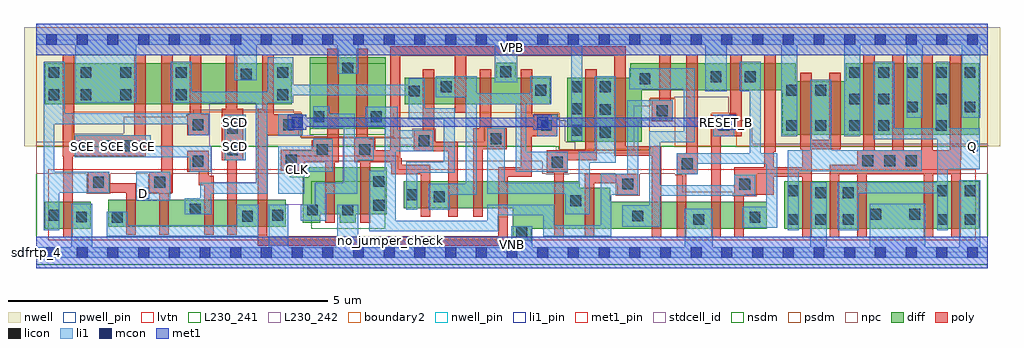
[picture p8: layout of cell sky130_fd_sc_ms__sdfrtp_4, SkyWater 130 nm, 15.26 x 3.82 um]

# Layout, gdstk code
import gdstk
lib = gdstk.Library(unit=1e-6, precision=1e-09)
def R(c, l, rs):  # rectangles x0, y0, x1, y1
    for r in rs: c.add(gdstk.rectangle(r[:2], r[2:], *l))
def A(c, l, x, y, w, h, nx, ny, dx, dy):  # array of equal rectangles
    R(c, l, [(x+i*dx, y+j*dy, x+i*dx+w, y+j*dy+h) for i in range(nx) for j in range(ny)])
def P(c, l, *ps):  # polygons
    for p in ps: c.add(gdstk.Polygon(p, *l))
nwell_pin = (64, 16)
nwell = (64, 20)
diff = (65, 20)
poly = (66, 20)
licon = (66, 44)
li1_pin = (67, 16)
li1 = (67, 20)
mcon = (67, 44)
met1_pin = (68, 16)
met1 = (68, 20)
stdcell_id = (81, 4)
nsdm = (93, 44)
psdm = (94, 20)
npc = (95, 20)
pwell_pin = (122, 16)
lvtn = (125, 44)
L230_241 = (230, 241)
L230_242 = (230, 242)
boundary2 = (236, 0)

sky130_fd_sc_ms__sdfrtp_ = lib.new_cell('sky130_fd_sc_ms__sdfrtp_4')
R(sky130_fd_sc_ms__sdfrtp_, nwell_pin, [(0,3.085,14.88,3.33)])
P(sky130_fd_sc_ms__sdfrtp_, nwell, [(15.07,3.52),(-0.19,3.52),(-0.19,1.66),(3.55,1.66),(3.55,1.675),(5.97,1.675),(5.97,1.66),(8.125,1.66),(8.125,1.555),(9.645,1.555),(9.645,1.66),(15.07,1.66)])
R(sky130_fd_sc_ms__sdfrtp_, diff, [(0.135,0.37,0.855,0.79), (11.695,0.37,14.745,1.11), (1.125,0.405,3.9,0.825), (4.275,1.935,5.465,3.055), (0.135,2.32,4,2.96)])
P(sky130_fd_sc_ms__sdfrtp_, diff, [(5.48,1.335),(4.265,1.335),(4.265,1.175),(4.17,1.175),(4.17,0.465),(4.445,0.465),(4.445,0.595),(4.745,0.595),(4.745,0.465),(4.995,0.465),(4.995,0.595),(5.48,0.595)],
  [(8.035,2.735),(7.5,2.735),(7.5,2.97),(7.19,2.97),(7.19,2.735),(5.765,2.735),(5.765,2.315),(8.035,2.315)],
  [(11.425,0.79),(8.975,0.79),(8.975,1.01),(8.5,1.01),(8.5,1.11),(5.75,1.11),(5.75,0.69),(7.45,0.69),(7.45,0.18),(7.74,0.18),(7.74,0.37),(11.425,0.37)],
  [(14.745,2.96),(12.655,2.96),(12.655,2.68),(11.875,2.68),(11.875,2.96),(9.29,2.96),(9.29,2.735),(8.305,2.735),(8.305,1.735),(9.465,1.735),(9.465,2.54),(11.665,2.54),(11.665,1.84),(14.745,1.84)])
P(sky130_fd_sc_ms__sdfrtp_, poly, [(1.56,1.085),(1.14,1.085),(1.14,1.265),(0.81,1.265),(0.81,0.935),(1.41,0.935),(1.41,0.275),(1.56,0.275)],
  [(1.715,3.09),(1.535,3.09),(1.535,1.835),(0.595,1.835),(0.595,3.09),(0.415,3.09),(0.415,1.505),(0.42,1.505),(0.42,0.24),(0.57,0.24),(0.57,1.505),(1.715,1.505)],
  [(2.135,3.09),(1.955,3.09),(1.955,1.265),(1.77,1.265),(1.77,0.935),(1.925,0.935),(1.925,0.275),(2.075,0.275),(2.075,0.935),(2.135,0.935)],
  [(2.695,2.16),(2.585,2.16),(2.585,3.09),(2.405,3.09),(2.405,2.16),(2.365,2.16),(2.365,1.83),(2.695,1.83)],
  [(2.775,1.2),(2.695,1.2),(2.695,1.59),(2.365,1.59),(2.365,1.26),(2.545,1.26),(2.545,1.05),(2.625,1.05),(2.625,0.275),(2.775,0.275)],
  [(3.235,2.245),(3.145,2.245),(3.145,3.09),(2.965,3.09),(2.965,2.245),(2.905,2.245),(2.905,1.44),(2.985,1.44),(2.985,0.275),(3.135,0.275),(3.135,1.44),(3.235,1.44)],
  [(11.03,3.09),(10.85,3.09),(10.85,2.15),(10.555,2.15),(10.555,0.24),(10.705,0.24),(10.705,1.82),(11.03,1.82)],
  [(4.735,3.185),(4.555,3.185),(4.555,1.775),(4.33,1.775),(4.33,1.755),(4.31,1.755),(4.31,1.61),(3.825,1.61),(3.825,1.28),(4.185,1.28),(4.185,1.41),(4.52,1.41),(4.52,0.465),(4.67,0.465),(4.67,1.41),(4.735,1.41)],
  [(6.595,1.735),(6.23,1.735),(6.23,1.915),(6.225,1.915),(6.225,2.865),(6.045,2.865),(6.045,1.915),(5.9,1.915),(5.9,1.585),(6.445,1.585),(6.445,0.56),(6.595,0.56)],
  [(12.58,2.81),(12.4,2.81),(12.4,1.765),(12.13,1.765),(12.13,2.81),(11.95,2.81),(11.95,1.615),(11.98,1.615),(11.98,1.335),(11.535,1.335),(11.535,1.575),(11.565,1.575),(11.565,3.09),(11.385,3.09),(11.385,1.335),(10.915,1.335),(10.915,0.24),(11.065,0.24),(11.065,0.9),(11.535,0.9),(11.535,1.185),(11.98,1.185),(11.98,0.24),(12.13,0.24),(12.13,1.615),(12.58,1.615)],
  [(7.355,1.945),(7.115,1.945),(7.115,2.865),(6.935,2.865),(6.935,1.945),(6.835,1.945),(6.835,0.56),(6.985,0.56),(6.985,1.615),(7.355,1.615)],
  [(8.145,2.15),(7.755,2.15),(7.755,2.865),(7.575,2.865),(7.575,1.335),(7.225,1.335),(7.225,0.255),(3.615,0.255),(3.615,1.83),(4.095,1.83),(4.095,1.85),(4.115,1.85),(4.115,2.16),(3.715,2.16),(3.715,3.09),(3.535,3.09),(3.535,2.245),(3.465,2.245),(3.465,0.105),(7.375,0.105),(7.375,1.185),(7.745,1.185),(7.745,1.82),(8.145,1.82)],
  [(14.465,3.09),(14.285,3.09),(14.285,1.6),(14.015,1.6),(14.015,3.09),(13.835,3.09),(13.835,1.6),(13.565,1.6),(13.565,3.09),(13.385,3.09),(13.385,1.6),(13.115,1.6),(13.115,3.09),(12.935,3.09),(12.935,1.6),(12.84,1.6),(12.84,1.375),(12.41,1.375),(12.41,0.24),(12.56,0.24),(12.56,1.225),(12.84,1.225),(12.84,0.24),(12.99,0.24),(12.99,1.225),(13.88,1.225),(13.88,0.24),(14.03,0.24),(14.03,1.225),(14.31,1.225),(14.31,0.24),(14.46,0.24),(14.46,1.45),(14.465,1.45)],
  [(8.765,2.865),(8.585,2.865),(8.585,1.595),(7.985,1.595),(7.985,1.245),(8.1,1.245),(8.1,0.24),(8.25,0.24),(8.25,1.245),(8.315,1.245),(8.315,1.445),(8.765,1.445)],
  [(9.415,1.235),(8.575,1.235),(8.575,0.24),(8.725,0.24),(8.725,1.085),(9.085,1.085),(9.085,0.905),(9.415,0.905)],
  [(9.775,1.66),(9.215,1.66),(9.215,3.225),(5.54,3.225),(5.54,1.595),(5.305,1.595),(5.305,1.775),(5.185,1.775),(5.185,3.185),(5.005,3.185),(5.005,1.775),(4.975,1.775),(4.975,1.41),(5.07,1.41),(5.07,0.465),(5.22,0.465),(5.22,1.41),(5.545,1.41),(5.545,1.375),(5.555,1.375),(5.555,1.225),(6.015,1.225),(6.015,0.56),(6.165,0.56),(6.165,1.375),(5.715,1.375),(5.715,1.475),(5.69,1.475),(5.69,3.075),(6.545,3.075),(6.545,2.185),(6.725,2.185),(6.725,3.075),(9.035,3.075),(9.035,1.51),(9.625,1.51),(9.625,0.24),(9.775,0.24)],
  [(9.955,2.38),(9.925,2.38),(9.925,3.09),(9.745,3.09),(9.745,2.38),(9.625,2.38),(9.625,2.05),(9.955,2.05)],
  [(10.345,3.09),(10.165,3.09),(10.165,1.555),(10.015,1.555),(10.015,0.24),(10.165,0.24),(10.165,1.225),(10.345,1.225)])
A(sky130_fd_sc_ms__sdfrtp_, licon, 11.755, 0.43, 0.17, 0.17, 3, 1, 0.43, 0)
A(sky130_fd_sc_ms__sdfrtp_, licon, 12.92, 1.35, 0.17, 0.17, 3, 1, 0.34, 0)
A(sky130_fd_sc_ms__sdfrtp_, licon, 0.685, 1.585, 0.17, 0.17, 3, 1, 0.34, 0)
A(sky130_fd_sc_ms__sdfrtp_, licon, 8.815, 1.795, 0.17, 0.17, 1, 3, 0, 0.355)
A(sky130_fd_sc_ms__sdfrtp_, licon, 8.365, 1.825, 0.17, 0.17, 1, 3, 0, 0.34)
A(sky130_fd_sc_ms__sdfrtp_, licon, 12.715, 2.73, 0.17, 0.17, 5, 1, 0.45, 0)
R(sky130_fd_sc_ms__sdfrtp_, licon, [(7.51,0.24,7.68,0.41), (10.275,0.43,10.445,0.6), (14.085,0.43,14.255,0.6), (14.515,0.43,14.685,0.6), (1.185,0.465,1.355,0.635), (11.155,0.465,11.325,0.635), (0.625,0.47,0.795,0.64), (3.22,0.48,3.39,0.65), (9.32,0.485,9.49,0.655), (0.195,0.495,0.365,0.665), (3.69,0.5,3.86,0.67), (13.045,0.51,13.215,0.68), (13.655,0.51,13.825,0.68), (4.235,0.58,4.405,0.75), (4.785,0.58,4.955,0.75), (2.4,0.595,2.57,0.765), (5.27,0.655,5.44,0.825), (8.35,0.725,8.52,0.895), (6.22,0.785,6.39,0.955), (5.79,0.815,5.96,0.985), (12.185,0.85,12.355,1.02), (12.615,0.85,12.785,1.02), (11.755,0.88,11.925,1.05), (14.085,0.88,14.255,1.05), (14.515,0.88,14.685,1.05), (10.995,0.98,11.165,1.15), (9.165,0.985,9.335,1.155), (0.89,1.015,1.06,1.185), (1.85,1.015,2.02,1.185), (5.27,1.025,5.44,1.195), (10.095,1.305,10.265,1.475), (8.065,1.325,8.235,1.495), (2.445,1.34,2.615,1.51), (3.905,1.36,4.075,1.53), (2.985,1.52,3.155,1.69), (4.39,1.525,4.56,1.695), (5.055,1.525,5.225,1.695), (5.98,1.665,6.15,1.835), (7.105,1.695,7.275,1.865), (2.985,1.86,3.155,2.03), (7.895,1.9,8.065,2.07), (10.665,1.9,10.835,2.07), (11.73,1.9,11.9,2.07), (12.18,1.9,12.35,2.07), (12.715,1.9,12.885,2.07), (13.165,1.9,13.335,2.07), (14.065,1.9,14.235,2.07), (2.445,1.91,2.615,2.08), (3.865,1.91,4.035,2.08), (4.335,2.035,4.505,2.205), (5.235,2.035,5.405,2.205), (9.705,2.13,9.875,2.3), (13.615,2.19,13.785,2.36), (14.515,2.19,14.685,2.36), (12.715,2.315,12.885,2.485), (13.165,2.315,13.335,2.485), (14.065,2.315,14.235,2.485), (0.195,2.38,0.365,2.55), (0.695,2.38,0.865,2.55), (1.315,2.38,1.485,2.55), (2.185,2.38,2.355,2.55), (3.77,2.38,3.94,2.55), (5.825,2.44,5.995,2.61), (7.805,2.45,7.975,2.62), (11.73,2.45,11.9,2.62), (12.18,2.45,12.35,2.62), (6.325,2.505,6.495,2.675), (9.435,2.63,9.605,2.8), (10.545,2.665,10.715,2.835), (11.08,2.665,11.25,2.835), (3.2,2.705,3.37,2.875), (0.195,2.73,0.365,2.9), (0.695,2.73,0.865,2.9), (1.315,2.73,1.485,2.9), (2.185,2.73,2.355,2.9), (3.77,2.73,3.94,2.9), (7.26,2.74,7.43,2.91), (4.785,2.795,4.955,2.965)])
A(sky130_fd_sc_ms__sdfrtp_, li1_pin, 0.635, 1.58, 0.17, 0.17, 3, 1, 0.48, 0)
R(sky130_fd_sc_ms__sdfrtp_, li1_pin, [(1.595,0.84,1.765,1.01), (3.995,1.21,4.165,1.38), (3.035,1.58,3.205,1.75), (14.555,1.58,14.725,1.75), (3.035,1.95,3.205,2.12)])
R(sky130_fd_sc_ms__sdfrtp_, li1, [(1.565,0.81,2.1,1.265), (2.945,1.44,3.275,2.15), (7.835,1.82,8.145,2.15), (10.585,1.82,10.915,2.15), (3.785,1.83,4.165,2.16)])
P(sky130_fd_sc_ms__sdfrtp_, li1, [(2.705,2.175),(0.445,2.175),(0.445,2.98),(0.115,2.98),(0.115,0.35),(0.365,0.35),(0.365,0.935),(1.14,0.935),(1.14,1.265),(0.285,1.265),(0.285,2.005),(2.375,2.005),(2.375,1.83),(2.705,1.83)],
  [(2.735,1.66),(1.795,1.66),(1.795,1.835),(0.605,1.835),(0.605,1.49),(2.405,1.49),(2.405,1.26),(2.735,1.26)],
  [(3.47,0.75),(3.14,0.75),(3.14,0.425),(1.435,0.425),(1.435,0.64),(1.105,0.64),(1.105,0.255),(3.47,0.255)],
  [(4.64,1.775),(4.335,1.775),(4.335,1.66),(3.785,1.66),(3.785,0.92),(4.195,0.92),(4.195,1.26),(4.64,1.26)],
  [(14.88,3.415),(0,3.415),(0,3.245),(0.615,3.245),(0.615,2.345),(1.565,2.345),(1.565,3.245),(3.095,3.245),(3.095,2.69),(3.45,2.69),(3.45,3.245),(4.705,3.245),(4.705,2.795),(5.035,2.795),(5.035,3.245),(7.17,3.245),(7.17,2.66),(7.52,2.66),(7.52,3.245),(8.365,3.245),(8.365,1.745),(8.535,1.745),(8.535,3.245),(10.465,3.245),(10.465,2.52),(10.795,2.52),(10.795,3.245),(11.65,3.245),(11.65,1.82),(11.9,1.82),(11.9,3.245),(12.635,3.245),(12.635,1.82),(12.885,1.82),(12.885,3.245),(13.615,3.245),(13.615,2.11),(13.865,2.11),(13.865,3.245),(14.47,3.245),(14.47,2.11),(14.765,2.11),(14.765,3.245),(14.88,3.245)],
  [(5.28,1.8),(4.98,1.8),(4.98,2.17),(4.585,2.17),(4.585,2.285),(4.335,2.285),(4.335,1.945),(4.81,1.945),(4.81,1.09),(4.365,1.09),(4.365,0.75),(4.135,0.75),(4.135,0.5),(4.535,0.5),(4.535,0.92),(5.02,0.92),(5.02,1.445),(5.28,1.445)],
  [(6.545,2.255),(6.075,2.255),(6.075,2.725),(5.825,2.725),(5.825,2.625),(4.02,2.625),(4.02,3.055),(3.62,3.055),(3.62,2.515),(2.435,2.515),(2.435,2.98),(2.105,2.98),(2.105,2.345),(3.445,2.345),(3.445,1.09),(2.565,1.09),(2.565,0.845),(2.32,0.845),(2.32,0.595),(2.735,0.595),(2.735,0.92),(3.615,0.92),(3.615,2.345),(4.02,2.345),(4.02,2.455),(5.825,2.455),(5.825,2.085),(6.375,2.085),(6.375,1.415),(5.79,1.415),(5.79,0.67),(5.96,0.67),(5.96,1.245),(6.545,1.245)],
  [(8.315,1.575),(7.665,1.575),(7.665,2.32),(8.055,2.32),(8.055,2.755),(7.725,2.755),(7.725,2.49),(6.885,2.49),(6.885,2.755),(6.245,2.755),(6.245,2.425),(6.715,2.425),(6.715,1.075),(6.14,1.075),(6.14,0.67),(6.47,0.67),(6.47,0.905),(6.885,0.905),(6.885,2.32),(7.495,2.32),(7.495,1.26),(8.315,1.26)],
  [(9.065,2.755),(8.735,2.755),(8.735,1.575),(8.485,1.575),(8.485,1.09),(7.325,1.09),(7.325,1.945),(7.055,1.945),(7.055,0.92),(8.27,0.92),(8.27,0.595),(8.655,0.595),(8.655,1.405),(9.065,1.405)],
  [(9.955,2.38),(9.245,2.38),(9.245,1.235),(8.825,1.235),(8.825,0.425),(8.1,0.425),(8.1,0.75),(7.055,0.75),(7.055,0.5),(5.62,0.5),(5.62,1.585),(6.205,1.585),(6.205,1.915),(5.655,1.915),(5.655,2.275),(5.155,2.275),(5.155,1.97),(5.45,1.97),(5.45,1.275),(5.205,1.275),(5.205,0.33),(7.225,0.33),(7.225,0.58),(7.93,0.58),(7.93,0.255),(8.995,0.255),(8.995,0.905),(9.415,0.905),(9.415,2.065),(9.955,2.065)],
  [(11.245,1.215),(10.915,1.215),(10.915,1.055),(9.755,1.055),(9.755,1.725),(10.295,1.725),(10.295,2.88),(9.27,2.88),(9.27,2.55),(10.125,2.55),(10.125,1.895),(9.585,1.895),(9.585,0.735),(9.165,0.735),(9.165,0.405),(9.755,0.405),(9.755,0.885),(11.245,0.885)],
  [(11.585,1.555),(11.33,1.555),(11.33,2.98),(11,2.98),(11,2.52),(11.16,2.52),(11.16,1.555),(10.015,1.555),(10.015,1.225),(10.345,1.225),(10.345,1.385),(11.415,1.385),(11.415,0.715),(11.04,0.715),(11.04,0.385),(11.585,0.385)],
  [(13.85,1.6),(12.43,1.6),(12.43,2.7),(12.1,2.7),(12.1,1.6),(11.755,1.6),(11.755,0.35),(11.925,0.35),(11.925,1.27),(13.85,1.27)],
  [(14.755,1.94),(14.28,1.94),(14.28,2.98),(14.065,2.98),(14.065,1.94),(13.415,1.94),(13.415,2.98),(13.085,2.98),(13.085,1.77),(14.085,1.77),(14.085,1.1),(12.535,1.1),(12.535,0.35),(12.865,0.35),(12.865,0.93),(14.085,0.93),(14.085,0.35),(14.255,0.35),(14.255,1.3),(14.755,1.3)],
  [(14.88,0.085),(14.765,0.085),(14.765,1.13),(14.435,1.13),(14.435,0.085),(13.905,0.085),(13.905,0.76),(13.035,0.76),(13.035,0.085),(12.365,0.085),(12.365,1.1),(12.105,1.1),(12.105,0.085),(10.58,0.085),(10.58,0.68),(10.14,0.68),(10.14,0.085),(7.76,0.085),(7.76,0.41),(7.43,0.41),(7.43,0.085),(5.035,0.085),(5.035,0.75),(4.705,0.75),(4.705,0.085),(3.94,0.085),(3.94,0.75),(3.64,0.75),(3.64,0.085),(0.875,0.085),(0.875,0.765),(0.545,0.765),(0.545,0.085),(0,0.085),(0,-0.085),(14.88,-0.085)])
A(sky130_fd_sc_ms__sdfrtp_, mcon, 0.155, -0.085, 0.17, 0.17, 31, 2, 0.48, 3.33)
R(sky130_fd_sc_ms__sdfrtp_, mcon, [(3.995,1.95,4.165,2.12), (7.835,1.95,8.005,2.12), (10.715,1.95,10.885,2.12)])
R(sky130_fd_sc_ms__sdfrtp_, met1_pin, [(0,0,14.88,0.245), (10.715,1.95,10.885,2.12), (0,3.085,14.88,3.33)])
R(sky130_fd_sc_ms__sdfrtp_, met1, [(0,-0.245,14.88,0.245), (0,3.085,14.88,3.575)])
P(sky130_fd_sc_ms__sdfrtp_, met1, [(8.065,2.105),(10.655,2.105),(10.655,2.15),(10.945,2.15),(10.945,1.92),(10.655,1.92),(10.655,1.965),(8.065,1.965),(8.065,1.92),(7.775,1.92),(7.775,1.965),(4.225,1.965),(4.225,1.92),(3.935,1.92),(3.935,2.15),(4.225,2.15),(4.225,2.105),(7.775,2.105),(7.775,2.15),(8.065,2.15)])
R(sky130_fd_sc_ms__sdfrtp_, stdcell_id, [(0,0,14.88,3.33)])
P(sky130_fd_sc_ms__sdfrtp_, nsdm, [(14.88,1.66),(9.595,1.66),(9.595,1.605),(8.175,1.605),(8.175,1.66),(0,1.66),(0,-0.19),(14.88,-0.19)])
P(sky130_fd_sc_ms__sdfrtp_, psdm, [(14.88,3.52),(0,3.52),(0,1.66),(0.575,1.66),(0.575,2.19),(4.145,2.19),(4.145,1.805),(5.595,1.805),(5.595,2.185),(8.175,2.185),(8.175,1.605),(9.595,1.605),(9.595,2.41),(9.985,2.41),(9.985,1.66),(10.555,1.66),(10.555,2.18),(10.945,2.18),(10.945,1.66),(14.88,1.66)])
P(sky130_fd_sc_ms__sdfrtp_, npc, [(14.88,1.7),(11.2,1.7),(11.2,2.065),(10.935,2.065),(10.935,2.17),(10.83,2.17),(10.83,2.435),(9.975,2.435),(9.975,2.4),(9.605,2.4),(9.605,2.295),(9.34,2.295),(9.34,1.595),(8.43,1.595),(8.43,1.735),(8.275,1.735),(8.275,2.065),(8.165,2.065),(8.165,2.17),(7.78,2.17),(7.78,1.965),(7.005,1.965),(7.005,1.73),(6.25,1.73),(6.25,1.935),(5.88,1.935),(5.88,1.795),(4.135,1.795),(4.135,2.18),(4.03,2.18),(4.03,2.23),(2.46,2.23),(2.46,2.18),(2.345,2.18),(2.345,2.12),(1.37,2.12),(1.37,1.855),(0.585,1.855),(0.585,1.73),(0,1.73),(0,1.23),(0.79,1.23),(0.79,0.915),(1.16,0.915),(1.16,1.23),(1.75,1.23),(1.75,0.915),(2.12,0.915),(2.12,1.23),(4.205,1.23),(4.205,1.425),(7.915,1.425),(7.915,1.23),(7.965,1.23),(7.965,1.225),(8.335,1.225),(8.335,1.23),(9.065,1.23),(9.065,0.885),(9.435,0.885),(9.435,1.23),(9.995,1.23),(9.995,1.205),(10.1,1.205),(10.1,0.94),(10.895,0.94),(10.895,0.88),(11.265,0.88),(11.265,1.23),(14.88,1.23)])
R(sky130_fd_sc_ms__sdfrtp_, pwell_pin, [(0,0,14.88,0.245)])
P(sky130_fd_sc_ms__sdfrtp_, lvtn, [(14.69,1.3),(5.66,1.3),(5.66,1.515),(4.04,1.515),(4.04,1.3),(0.19,1.3),(0.19,0.19),(14.69,0.19)])
R(sky130_fd_sc_ms__sdfrtp_, L230_241, [(4.305,0.37,5.455,1.11), (2.945,1.44,3.275,2.15), (3.785,1.83,4.165,2.16), (4.275,1.84,5.465,2.96)])
P(sky130_fd_sc_ms__sdfrtp_, L230_241, [(4.64,1.59),(4.64,1.26),(4.195,1.26),(4.195,1.18),(3.965,1.18),(3.965,1.59)],
  [(3.965,1.59),(4.635,1.59),(4.635,1.26),(4.195,1.26),(4.195,1.18),(3.965,1.18)])
P(sky130_fd_sc_ms__sdfrtp_, L230_242, [(7.375,0.56),(7.225,0.56),(7.225,0.255),(3.615,0.255),(3.615,0.275),(3.465,0.275),(3.465,0.105),(7.375,0.105)],
  [(4.805,1.82),(4.335,1.82),(4.335,1.83),(3.615,1.83),(3.615,0.75),(4.365,0.75),(4.365,1.09),(4.805,1.09)],
  [(3.445,2.345),(2.705,2.345),(2.705,1.66),(2.735,1.66),(2.735,1.09),(3.445,1.09)])
R(sky130_fd_sc_ms__sdfrtp_, boundary2, [(0,0,14.88,3.33)])
sky130_fd_sc_ms__sdfrtp_.add(gdstk.Label('VNB', (7.44,0.123), layer=64, texttype=59))
sky130_fd_sc_ms__sdfrtp_.add(gdstk.Label('VPB', (7.44,3.208), layer=64, texttype=5))
sky130_fd_sc_ms__sdfrtp_.add(gdstk.Label('no_jumper_check', (7.425,3.15), layer=83, texttype=44))
sky130_fd_sc_ms__sdfrtp_.add(gdstk.Label('sdfrtp_4', (0,0), layer=83, texttype=44))
sky130_fd_sc_ms__sdfrtp_.add(gdstk.Label('no_jumper_check', (5.54,0.18), layer=83, texttype=44))
sky130_fd_sc_ms__sdfrtp_.add(gdstk.Label('RESET_B', (10.8,2.035), layer=68, texttype=5))
sky130_fd_sc_ms__sdfrtp_.add(gdstk.Label('VGND', (7.44,0.123), layer=68, texttype=5))
sky130_fd_sc_ms__sdfrtp_.add(gdstk.Label('VPWR', (7.44,3.208), layer=68, texttype=5))
sky130_fd_sc_ms__sdfrtp_.add(gdstk.Label('D', (1.68,0.925), layer=67, texttype=5))
sky130_fd_sc_ms__sdfrtp_.add(gdstk.Label('SCE', (0.72,1.665), layer=67, texttype=5))
sky130_fd_sc_ms__sdfrtp_.add(gdstk.Label('SCE', (1.2,1.665), layer=67, texttype=5))
sky130_fd_sc_ms__sdfrtp_.add(gdstk.Label('SCE', (1.68,1.665), layer=67, texttype=5))
sky130_fd_sc_ms__sdfrtp_.add(gdstk.Label('SCD', (3.12,1.665), layer=67, texttype=5))
sky130_fd_sc_ms__sdfrtp_.add(gdstk.Label('SCD', (3.12,2.035), layer=67, texttype=5))
sky130_fd_sc_ms__sdfrtp_.add(gdstk.Label('CLK', (4.08,1.295), layer=67, texttype=5))
sky130_fd_sc_ms__sdfrtp_.add(gdstk.Label('Q', (14.64,1.665), layer=67, texttype=5))

lib.write_gds('sky130_fd_sc_ms__sdfrtp_4.gds')
